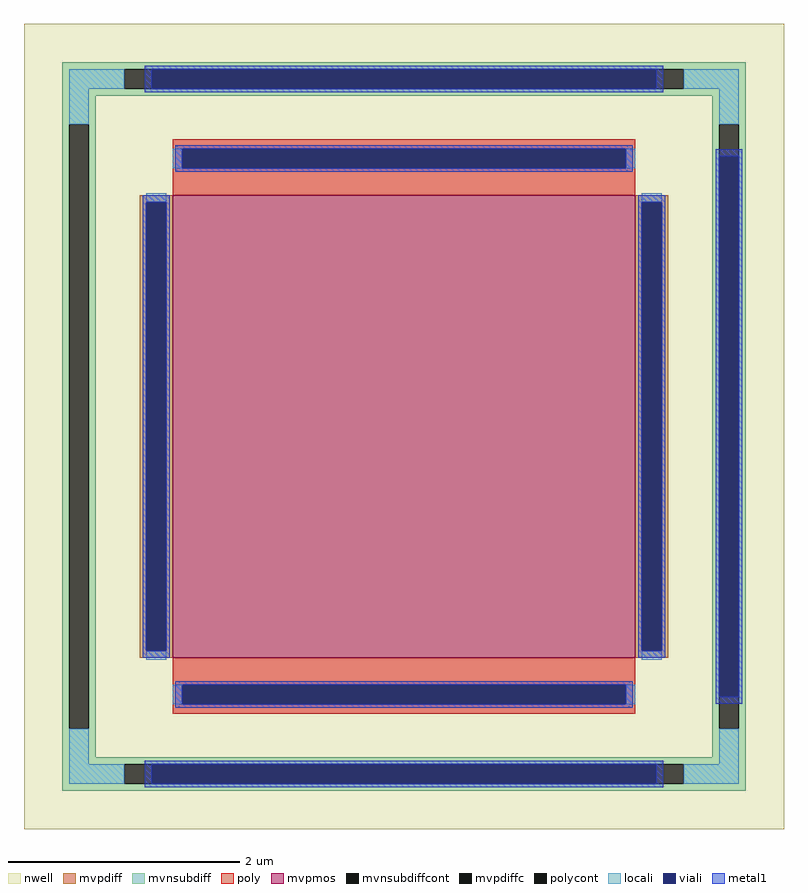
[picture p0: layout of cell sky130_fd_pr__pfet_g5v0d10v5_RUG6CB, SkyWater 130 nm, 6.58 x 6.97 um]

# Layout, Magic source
magic
tech sky130A
magscale 1 2
<< nwell >>
rect -658 -697 658 697
<< mvpmos >>
rect -400 -400 400 400
<< mvpdiff >>
rect -458 388 -400 400
rect -458 -388 -446 388
rect -412 -388 -400 388
rect -458 -400 -400 -388
rect 400 388 458 400
rect 400 -388 412 388
rect 446 -388 458 388
rect 400 -400 458 -388
<< mvpdiffc >>
rect -446 -388 -412 388
rect 412 -388 446 388
<< mvnsubdiff >>
rect -592 619 592 631
rect -592 585 -484 619
rect 484 585 592 619
rect -592 573 592 585
rect -592 523 -534 573
rect -592 -523 -580 523
rect -546 -523 -534 523
rect 534 523 592 573
rect -592 -573 -534 -523
rect 534 -523 546 523
rect 580 -523 592 523
rect 534 -573 592 -523
rect -592 -585 592 -573
rect -592 -619 -484 -585
rect 484 -619 592 -585
rect -592 -631 592 -619
<< mvnsubdiffcont >>
rect -484 585 484 619
rect -580 -523 -546 523
rect 546 -523 580 523
rect -484 -619 484 -585
<< poly >>
rect -400 481 400 497
rect -400 447 -384 481
rect 384 447 400 481
rect -400 400 400 447
rect -400 -447 400 -400
rect -400 -481 -384 -447
rect 384 -481 400 -447
rect -400 -497 400 -481
<< polycont >>
rect -384 447 384 481
rect -384 -481 384 -447
<< locali >>
rect -580 585 -484 619
rect 484 585 580 619
rect -580 523 -546 585
rect 546 523 580 585
rect -400 447 -384 481
rect 384 447 400 481
rect -446 388 -412 404
rect -446 -404 -412 -388
rect 412 388 446 404
rect 412 -404 446 -388
rect -400 -481 -384 -447
rect 384 -481 400 -447
rect -580 -585 -546 -523
rect 546 -585 580 -523
rect -580 -619 -484 -585
rect 484 -619 580 -585
<< viali >>
rect -437 585 437 619
rect -384 447 384 481
rect -446 -388 -412 388
rect 412 -388 446 388
rect -384 -481 384 -447
rect 546 -468 580 468
rect -437 -619 437 -585
<< metal1 >>
rect -449 619 449 625
rect -449 585 -437 619
rect 437 585 449 619
rect -449 579 449 585
rect -396 481 396 487
rect -396 447 -384 481
rect 384 447 396 481
rect -396 441 396 447
rect 540 468 586 480
rect -452 388 -406 400
rect -452 -388 -446 388
rect -412 -388 -406 388
rect -452 -400 -406 -388
rect 406 388 452 400
rect 406 -388 412 388
rect 446 -388 452 388
rect 406 -400 452 -388
rect -396 -447 396 -441
rect -396 -481 -384 -447
rect 384 -481 396 -447
rect 540 -468 546 468
rect 580 -468 586 468
rect 540 -480 586 -468
rect -396 -487 396 -481
rect -449 -585 449 -579
rect -449 -619 -437 -585
rect 437 -619 449 -585
rect -449 -625 449 -619
<< properties >>
string FIXED_BBOX -563 -602 563 602
string gencell sky130_fd_pr__pfet_g5v0d10v5
string library sky130
string parameters w 4 l 4 m 1 nf 1 diffcov 100 polycov 100 guard 1 glc 1 grc 1 gtc 1 gbc 1 tbcov 100 rlcov 100 topc 1 botc 1 poverlap 0 doverlap 1 lmin 0.50 wmin 0.42 compatible {sky130_fd_pr__pfet_01v8  sky130_fd_pr__pfet_01v8_lvt sky130_fd_pr__pfet_01v8_hvt  sky130_fd_pr__pfet_g5v0d10v5} full_metal 1 viasrc 100 viadrn 100 viagate 100 viagb 80 viagr 80 viagl 0 viagt 80
<< end >>
